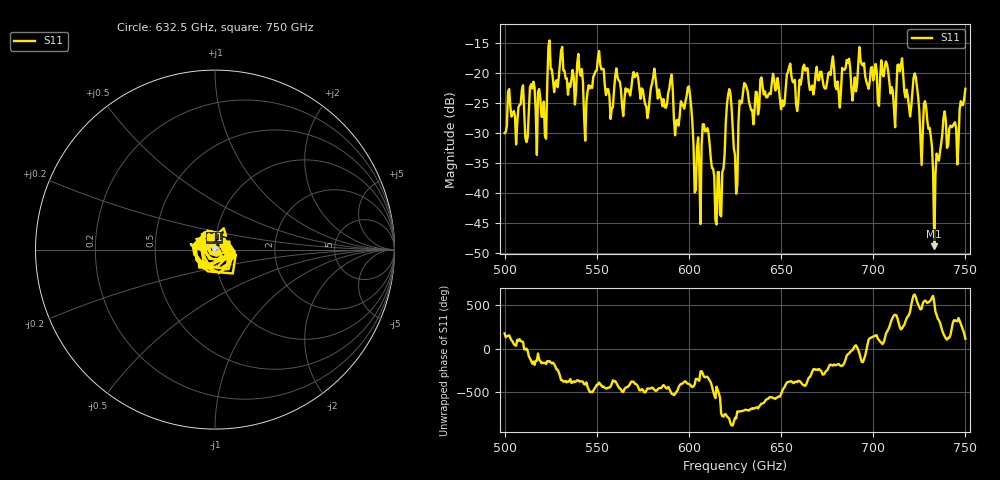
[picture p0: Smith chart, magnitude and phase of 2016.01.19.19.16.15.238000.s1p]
!Created with skrf (http://scikit-rf.org).
# GHz S RI R 50.0
!freq ReS11 ImS11
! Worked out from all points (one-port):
!   401 points, 500 GHz to 750 GHz, reference 50 ohm
!   lowest |S11| = -48.8 dB at 733.1 GHz (marker M1), VSWR 1.01, Z = 49.7 + j0.114 ohm
!   |S11| at or under -10 dB: start of sweep to end of sweep
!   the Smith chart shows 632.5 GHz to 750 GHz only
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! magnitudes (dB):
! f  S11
! 500 GHz  -30.0
! 508.8 GHz  -25.1
! 511.9 GHz  -31.5
! 515 GHz  -22.5
! 521.2 GHz  -24.7
! 524.4 GHz  -14.5
! 531.2 GHz  -15.6
! 544.4 GHz  -24.8
! 550.6 GHz  -17.4
! 562.5 GHz  -21.4
! 590 GHz  -21.0
! 593.8 GHz  -27.8
! 600 GHz  -22.2
! 605 GHz  -30.7
! 608.8 GHz  -29.7
! 615.6 GHz  -36.5
! 621.9 GHz  -22.6
! 625 GHz  -33.6
! 630.6 GHz  -21.8
! 656.2 GHz  -21.4
! 687.5 GHz  -19.1
! 706.9 GHz  -18.0
! 711.2 GHz  -25.8
! 714.4 GHz  -19.7
! 718.8 GHz  -23.8
! 728.8 GHz  -25.8
! 733.1 GHz  -48.8
! 750 GHz  -22.6
